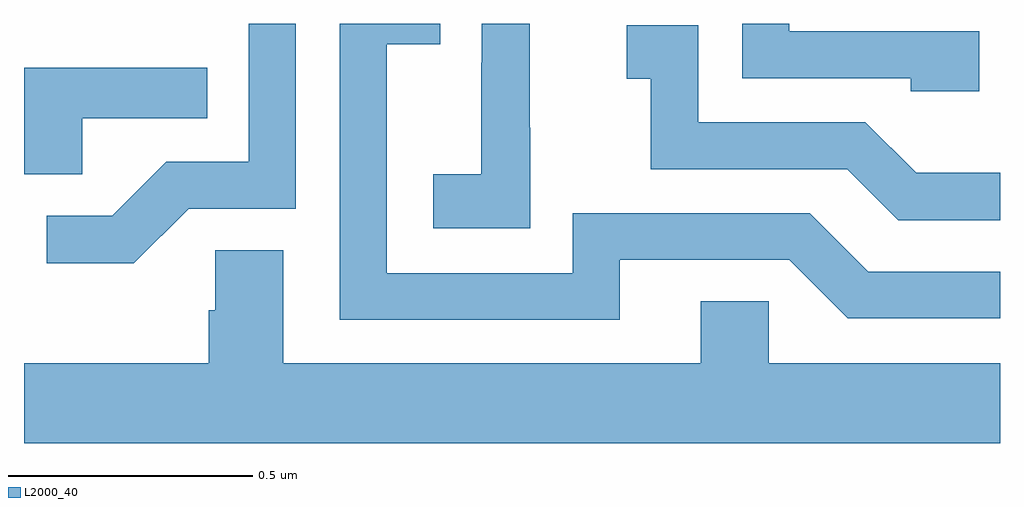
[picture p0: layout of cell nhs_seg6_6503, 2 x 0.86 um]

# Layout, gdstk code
import gdstk
lib = gdstk.Library(unit=1e-6, precision=1e-09)
def P(c, l, *ps):  # polygons
    for p in ps: c.add(gdstk.Polygon(p, *l))
L2000_40 = (2000, 40)

nhs_seg6_6503 = lib.new_cell('nhs_seg6_6503')
P(nhs_seg6_6503, L2000_40, [(197.037,977.287),(197.036,977.287),(197.036,977.5),(196.938,977.5),(196.938,977.42),(196.937,977.42),(196.937,977.191),(196.839,977.191),(196.839,977.081),(197.037,977.081)],
  [(197.957,977.484),(197.568,977.484),(197.568,977.5),(197.472,977.5),(197.472,977.388),(197.817,977.388),(197.817,977.361),(197.957,977.361)],
  [(196.338,977.121),(196.557,977.121),(196.557,977.5),(196.461,977.5),(196.461,977.217),(196.292,977.217),(196.181,977.106),(196.047,977.106),(196.047,977.009),(196.225,977.009)],
  [(197.221,977.016),(197.568,977.016),(197.688,976.896),(198,976.896),(198,976.992),(197.73,976.992),(197.61,977.112),(197.124,977.112),(197.124,976.989),(196.743,976.989),(196.743,977.458),(196.853,977.458),(196.853,977.5),(196.647,977.5),(196.647,976.893),(197.221,976.893)],
  [(198,977.194),(197.828,977.194),(197.724,977.298),(197.382,977.298),(197.382,977.497),(197.235,977.497),(197.235,977.387),(197.284,977.387),(197.284,977.202),(197.687,977.202),(197.792,977.097),(198,977.097)],
  [(196.119,977.306),(196.376,977.306),(196.376,977.41),(196,977.41),(196,977.191),(196.119,977.191)],
  [(198,976.804),(197.526,976.804),(197.526,976.931),(197.387,976.931),(197.387,976.804),(196.531,976.804),(196.531,977.036),(196.392,977.036),(196.392,976.913),(196.379,976.913),(196.379,976.804),(196,976.804),(196,976.64),(198,976.64)])

lib.write_gds('nhs_seg6_6503.gds')
